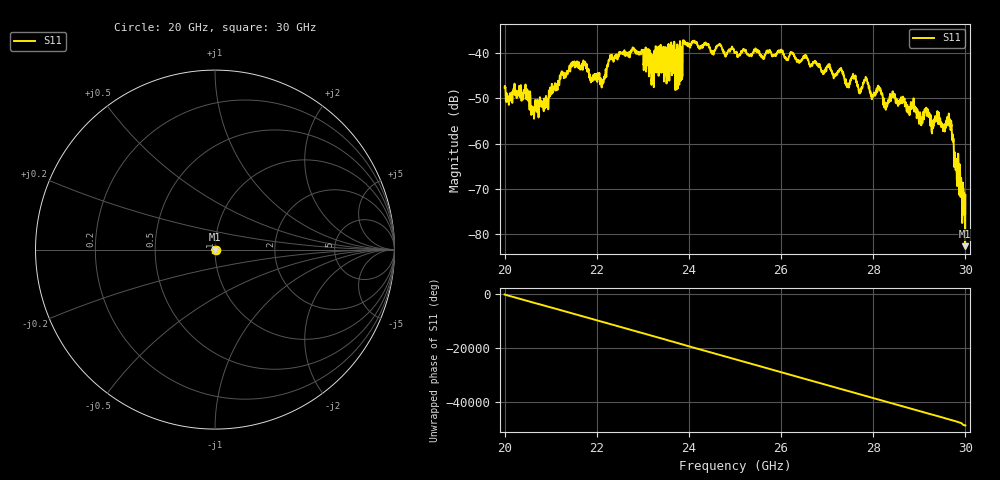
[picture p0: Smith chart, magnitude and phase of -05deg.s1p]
#  HZ  S  RI  R  50.00
! Rohde & Schwarz ZVA40 4Ports - Version 3.90 - 1145.1110k42 SN: 100403
! Date: 2023-10-03 12:36:26
! Measurement: S12
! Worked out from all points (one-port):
!   5001 points, 20 GHz to 30 GHz, reference 50 ohm
!   lowest |S11| = -82.7 dB at 29.99 GHz (marker M1), VSWR 1.00, Z = 50 + j0.00728 ohm
!   |S11| at or under -10 dB: start of sweep to end of sweep
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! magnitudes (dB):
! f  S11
! 20 GHz  -47.6
! 20.48 GHz  -49.9
! 20.61 GHz  -52.5
! 20.9 GHz  -49.5
! 21.25 GHz  -44.6
! 21.72 GHz  -42.1
! 22.12 GHz  -45.9
! 22.28 GHz  -41.3
! 22.5 GHz  -40.2
! 22.96 GHz  -40.2
! 23.2 GHz  -44.8
! 23.4 GHz  -42.7
! 23.75 GHz  -38.5
! 23.92 GHz  -37.5
! 25 GHz  -39.9
! 26.25 GHz  -40.1
! 27.5 GHz  -46.3
! 27.72 GHz  -48.0
! 27.84 GHz  -45.8
! 27.97 GHz  -50.1
! 28.15 GHz  -48.1
! 28.26 GHz  -51.7
! 28.42 GHz  -48.6
! 28.75 GHz  -53.1
! 29.65 GHz  -55.8
! 29.78 GHz  -64.3
! 29.99 GHz  -82.7
! 30 GHz  -71.4
